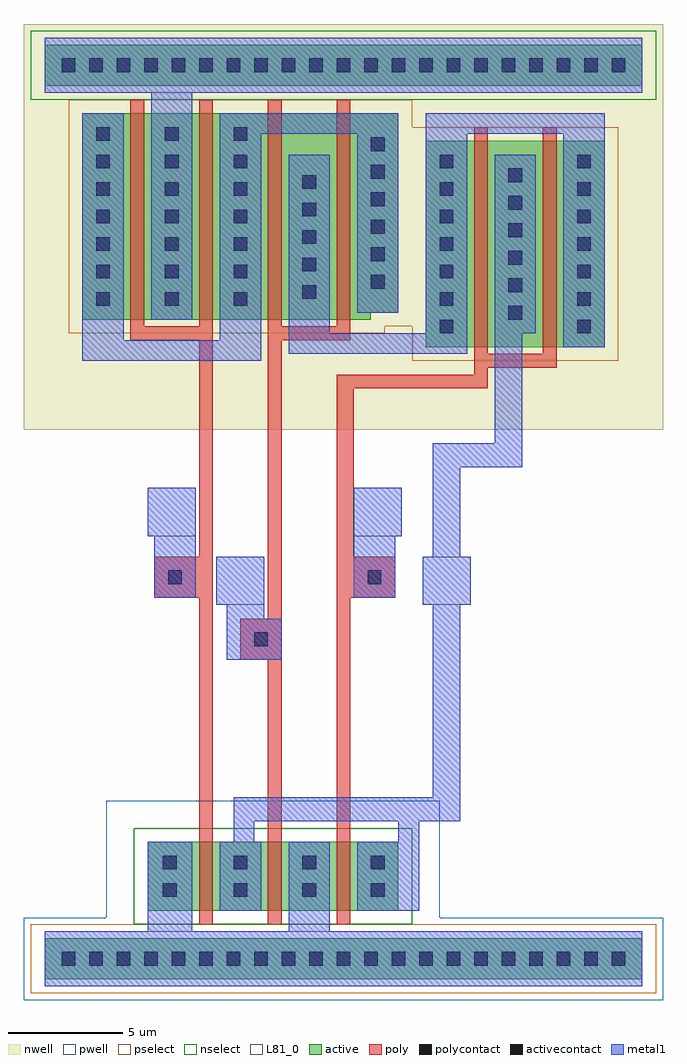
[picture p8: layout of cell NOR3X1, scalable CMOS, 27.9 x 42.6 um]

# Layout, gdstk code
import gdstk
lib = gdstk.Library(unit=1e-6, precision=1e-09)
def R(c, l, rs):  # rectangles x0, y0, x1, y1
    for r in rs: c.add(gdstk.rectangle(r[:2], r[2:], *l))
def A(c, l, x, y, w, h, nx, ny, dx, dy):  # array of equal rectangles
    R(c, l, [(x+i*dx, y+j*dy, x+i*dx+w, y+j*dy+h) for i in range(nx) for j in range(ny)])
pwell = (41, 0)
nwell = (42, 0)
active = (43, 0)
pselect = (44, 0)
nselect = (45, 0)
poly = (46, 0)
polycontact = (47, 0)
activecontact = (48, 0)
metal1 = (49, 0)
L81_0 = (81, 0)

nor3x1 = lib.new_cell('NOR3X1')
R(nor3x1, pwell, [(-1.95,-1.8,25.95,1.8), (1.65,1.8,16.2,6.9)])
R(nor3x1, nwell, [(-1.95,23.1,25.95,40.8)])
R(nor3x1, active, [(-1.05,-0.9,25.05,0.9), (3.45,2.1,14.4,5.1), (15.6,26.7,23.4,35.7), (0.6,27.9,13.2,28.2), (0.6,28.2,14.4,36.9), (-1.05,38.1,25.05,39.9)])
R(nor3x1, pselect, [(-1.65,-1.5,25.65,1.5), (15,26.1,24,27.6), (0,27.3,13.8,27.6), (0,27.6,24,36.3), (0,36.3,15,37.5)])
R(nor3x1, nselect, [(2.85,1.5,15,5.7), (-1.65,37.5,25.65,40.5)])
A(nor3x1, poly, 2.7, 27.6, 0.6, 9.9, 4, 1, 3, 0)
R(nor3x1, poly, [(5.7,1.5,6.3,15.75), (8.7,1.5,9.3,13.05), (11.7,1.5,12.3,15.75), (7.5,13.05,9.3,14.85), (8.7,14.85,9.3,27), (3.75,15.75,6.3,17.55), (11.7,15.75,14.25,17.55), (5.7,17.55,6.3,27), (11.7,17.55,12.45,24.9), (11.7,24.9,18.3,25.5), (17.7,25.5,18.3,25.8), (17.7,25.8,21.3,26.4), (17.7,26.4,18.3,36.3), (20.7,26.4,21.3,36.3), (2.7,27,6.3,27.6), (8.7,27,12.3,27.6)])
R(nor3x1, polycontact, [(8.1,13.65,8.7,14.25), (4.35,16.35,4.95,16.95), (13.05,16.35,13.65,16.95)])
A(nor3x1, activecontact, -0.3, -0.3, 0.6, 0.6, 21, 2, 1.2, 39)
A(nor3x1, activecontact, 7.2, 2.7, 0.6, 0.6, 3, 2, 3, 1.2)
A(nor3x1, activecontact, 16.2, 27.3, 0.6, 0.6, 1, 7, 0, 1.2)
A(nor3x1, activecontact, 22.2, 27.3, 0.6, 0.6, 1, 7, 0, 1.2)
A(nor3x1, activecontact, 19.2, 27.9, 0.6, 0.6, 1, 6, 0, 1.2)
A(nor3x1, activecontact, 1.2, 28.5, 0.6, 0.6, 3, 7, 3, 1.2)
A(nor3x1, activecontact, 10.2, 28.8, 0.6, 0.6, 1, 5, 0, 1.2)
A(nor3x1, activecontact, 13.2, 29.25, 0.6, 0.6, 1, 6, 0, 1.2)
R(nor3x1, activecontact, [(4.12,2.7,4.72,3.3), (4.12,3.9,4.72,4.5)])
R(nor3x1, metal1, [(-1.05,-1.2,25.05,1.2), (3.45,1.2,5.4,5.1), (9.6,1.2,11.4,5.1), (6.6,2.1,8.4,5.1), (12.6,2.1,15.3,5.1), (7.2,5.1,8.1,6), (14.4,5.1,15.3,6), (7.2,6,17.1,7.05), (15.9,7.05,17.1,15.45), (6.9,13.05,9.3,14.85), (6.9,14.85,8.55,15.45), (6.45,15.45,8.55,17.55), (15.45,15.45,17.55,17.55), (3.75,15.75,5.55,18.45), (12.45,15.75,14.25,18.45), (15.9,17.55,17.1,21.45), (3.45,18.45,5.55,20.55), (12.45,18.45,14.55,20.55), (15.9,21.45,19.8,22.5), (18.6,22.5,19.8,27.3), (0.6,26.1,8.4,27), (9.6,26.4,17.4,27.3), (21.6,26.7,23.4,36), (0.6,27,2.4,36.9), (6.6,27,8.4,36), (9.6,27.3,11.4,35.1), (15.6,27.3,17.4,36), (18.6,27.3,20.4,35.1), (3.6,27.9,5.4,37.8), (12.6,28.2,14.4,36), (6.6,36,14.4,36.9), (15.6,36,23.4,36.9), (-1.05,37.8,25.05,40.2)])
R(nor3x1, L81_0, [(-1.05,-1.2,25.05,1.2), (6.45,15.45,8.55,17.55), (15.45,15.45,17.55,17.55), (3.45,18.45,5.55,20.55), (12.45,18.45,14.55,20.55), (-1.05,37.8,25.05,40.2)])

lib.write_gds('NOR3X1.gds')
